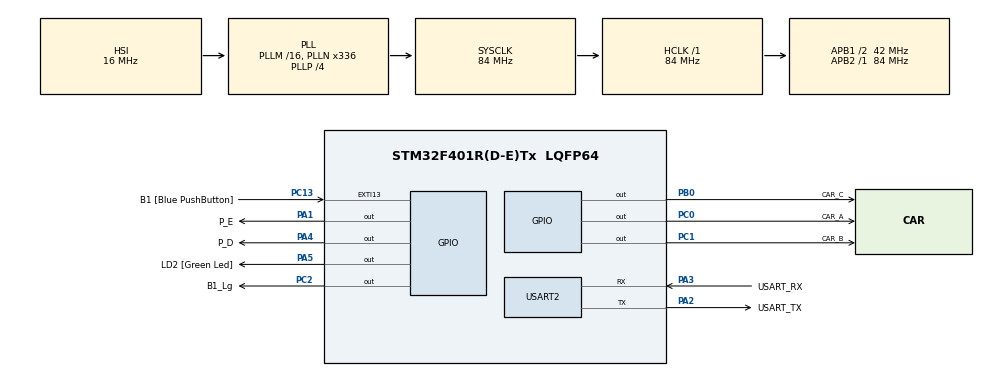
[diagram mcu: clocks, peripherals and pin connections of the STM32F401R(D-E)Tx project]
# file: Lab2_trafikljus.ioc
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Mcu.Family=STM32F4
Mcu.Name=STM32F401R(D-E)Tx
Mcu.Package=LQFP64
NVIC.PriorityGroup=NVIC_PRIORITYGROUP_0
PA1.GPIO_Label=P_E
PA1.Signal=GPIO_Output
PA13.GPIO_Label=TMS
PA13.Mode=Serial_Wire
PA13.Signal=SYS_JTMS-SWDIO
PA14.GPIO_Label=TCK
PA14.Mode=Serial_Wire
PA14.Signal=SYS_JTCK-SWCLK
PA2.GPIO_Label=USART_TX
PA2.GPIO_Mode=GPIO_MODE_AF_PP
PA2.GPIO_PuPd=GPIO_NOPULL
PA2.GPIO_Speed=GPIO_SPEED_FREQ_LOW
PA2.Mode=Asynchronous
PA2.Signal=USART2_TX
PA3.GPIO_Label=USART_RX
PA3.GPIO_Mode=GPIO_MODE_AF_PP
PA3.GPIO_PuPd=GPIO_NOPULL
PA3.GPIO_Speed=GPIO_SPEED_FREQ_LOW
PA3.Mode=Asynchronous
PA3.Signal=USART2_RX
PA4.GPIO_Label=P_D
PA4.Signal=GPIO_Output
PA5.GPIO_Label=LD2 [Green Led]
PA5.GPIO_Mode=GPIO_MODE_OUTPUT_PP
PA5.GPIO_PuPd=GPIO_NOPULL
PA5.GPIO_Speed=GPIO_SPEED_FREQ_LOW
PA5.Signal=GPIO_Output
PB0.GPIO_Label=CAR_C
PB0.Signal=GPIO_Output
PB3.GPIO_Label=SWO
PB3.Signal=SYS_JTDO-SWO
PC0.GPIO_Label=CAR_A
PC0.Signal=GPIO_Output
PC1.GPIO_Label=CAR_B
PC1.Signal=GPIO_Output
PC13-ANTI_TAMP.GPIO_Label=B1 [Blue PushButton]
PC13-ANTI_TAMP.GPIO_ModeDefaultEXTI=GPIO_MODE_IT_FALLING
PC13-ANTI_TAMP.GPIO_PuPd=GPIO_NOPULL
PC13-ANTI_TAMP.Signal=GPXTI13
PC14-OSC32_IN.Mode=LSE-External-Oscillator
PC14-OSC32_IN.Signal=RCC_OSC32_IN
PC15-OSC32_OUT.Mode=LSE-External-Oscillator
PC15-OSC32_OUT.Signal=RCC_OSC32_OUT
PC2.GPIO_Label=B1_Lg
PC2.Signal=GPIO_Output
PH0\ -\ OSC_IN.Mode=HSE-External-Clock-Source
PH0\ -\ OSC_IN.Signal=RCC_OSC_IN
PH1\ -\ OSC_OUT.Mode=HSE-External-Clock-Source
PH1\ -\ OSC_OUT.Signal=RCC_OSC_OUT
ProjectManager.HeapSize=0x200
ProjectManager.StackSize=0x400
ProjectManager.TargetToolchain=STM32CubeIDE
RCC.48MHZClocksFreq_Value=48000000
RCC.AHBFreq_Value=84000000
RCC.APB1CLKDivider=RCC_HCLK_DIV2
RCC.APB1Freq_Value=42000000
RCC.APB1TimFreq_Value=84000000
RCC.APB2Freq_Value=84000000
RCC.APB2TimFreq_Value=84000000
RCC.CortexFreq_Value=84000000
RCC.HCLKFreq_Value=84000000
RCC.HSE_VALUE=8000000
RCC.HSI_VALUE=16000000
RCC.PLLN=336
RCC.PLLP=RCC_PLLP_DIV4
RCC.PLLQ=7
RCC.SYSCLKFreq_VALUE=84000000
RCC.SYSCLKSource=RCC_SYSCLKSOURCE_PLLCLK
RCC.VCOOutputFreq_Value=336000000
USART2.VirtualMode=VM_ASYNC
board=NUCLEO-F401RE

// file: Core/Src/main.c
/* USER CODE BEGIN Header */
/**
  ******************************************************************************
  * @file           : main.c
  * @brief          : Main program body
  ******************************************************************************
  * @attention
  *
  * Copyright (c) 2024 STMicroelectronics.
  * All rights reserved.
  *
  * This software is licensed under terms that can be found in the LICENSE file
  * in the root directory of this software component.
  * If no LICENSE file comes with this software, it is provided AS-IS.
  *
  ******************************************************************************
  */
/* USER CODE END Header */
#include "main.h"

UART_HandleTypeDef huart2;

void SystemClock_Config(void);
static void MX_GPIO_Init(void);
static void MX_USART2_UART_Init(void);

/* USER CODE BEGIN 0 */
	enum event {
		ev_none,
		ev_button_push,
		ev_state_timeout
	};

	enum state {
		s_init,
		s_1,
		s_2,
		s_3,
		s_4,
		s_5,
		s_6,
		s_7,
		s_8,
		s_R_R,
		s_R_G,
		s_RY_R,
		s_G_R,
		s_Y_R
	};

void set_traffic_lights(enum state s){

		switch(s) {

		case s_init:

			//Car Lights on
			HAL_GPIO_WritePin(CAR_A_GPIO_Port, CAR_A_Pin, GPIO_PIN_SET); //Red
			HAL_GPIO_WritePin(CAR_B_GPIO_Port, CAR_B_Pin, GPIO_PIN_SET); //Yellow
			HAL_GPIO_WritePin(CAR_C_GPIO_Port, CAR_C_Pin, GPIO_PIN_SET); //Green

			//Passer Lights on
			HAL_GPIO_WritePin(P_D_GPIO_Port, P_D_Pin, GPIO_PIN_SET); //Green
			HAL_GPIO_WritePin(P_E_GPIO_Port, P_E_Pin, GPIO_PIN_SET); //Red

		break;

		case s_R_R:

			//Car Red
			HAL_GPIO_WritePin(CAR_C_GPIO_Port, CAR_C_Pin, GPIO_PIN_SET);
			//Passer Red
			HAL_GPIO_WritePin(P_E_GPIO_Port, P_E_Pin, GPIO_PIN_SET);

			//Rest reset (turn off)
			HAL_GPIO_WritePin(CAR_B_GPIO_Port, CAR_B_Pin, GPIO_PIN_RESET);
			HAL_GPIO_WritePin(CAR_A_GPIO_Port, CAR_A_Pin, GPIO_PIN_RESET);
			HAL_GPIO_WritePin(P_D_GPIO_Port, P_D_Pin, GPIO_PIN_RESET);

		break;

		case s_R_G:
				// Car red, passer green
		        HAL_GPIO_WritePin(CAR_C_GPIO_Port, CAR_C_Pin, GPIO_PIN_SET);
		        HAL_GPIO_WritePin(P_D_GPIO_Port, P_D_Pin, GPIO_PIN_SET);

		        //Reset rest
		        HAL_GPIO_WritePin(CAR_B_GPIO_Port, CAR_B_Pin, GPIO_PIN_RESET);
		        HAL_GPIO_WritePin(CAR_A_GPIO_Port, CAR_A_Pin, GPIO_PIN_RESET);
		        HAL_GPIO_WritePin(P_E_GPIO_Port, P_E_Pin, GPIO_PIN_RESET);
		        break;

		    case s_RY_R:
		    	//Car red and yellow, passer red
		        HAL_GPIO_WritePin(CAR_C_GPIO_Port, CAR_C_Pin, GPIO_PIN_SET);
		        HAL_GPIO_WritePin(CAR_B_GPIO_Port, CAR_B_Pin, GPIO_PIN_SET);
		        HAL_GPIO_WritePin(P_E_GPIO_Port, P_E_Pin, GPIO_PIN_SET);
		        //Reset rest
		        HAL_GPIO_WritePin(CAR_A_GPIO_Port, CAR_A_Pin, GPIO_PIN_RESET);
		        HAL_GPIO_WritePin(P_D_GPIO_Port, P_D_Pin, GPIO_PIN_RESET);
		        break;

		    case s_G_R:
		        HAL_GPIO_WritePin(CAR_A_GPIO_Port, CAR_A_Pin, GPIO_PIN_SET);
		        HAL_GPIO_WritePin(P_E_GPIO_Port, P_E_Pin, GPIO_PIN_SET);
		        // Reset rest
		        HAL_GPIO_WritePin(CAR_B_GPIO_Port, CAR_B_Pin, GPIO_PIN_RESET);
		        HAL_GPIO_WritePin(CAR_C_GPIO_Port, CAR_C_Pin, GPIO_PIN_RESET);
		        HAL_GPIO_WritePin(P_D_GPIO_Port, P_D_Pin, GPIO_PIN_RESET);
		        break;
		    case s_Y_R:
		        HAL_GPIO_WritePin(CAR_B_GPIO_Port, CAR_B_Pin, GPIO_PIN_SET);
		        HAL_GPIO_WritePin(P_E_GPIO_Port, P_E_Pin, GPIO_PIN_SET);
		        // Reset rest
		        HAL_GPIO_WritePin(CAR_A_GPIO_Port, CAR_A_Pin, GPIO_PIN_RESET);
		        HAL_GPIO_WritePin(CAR_C_GPIO_Port, CAR_C_Pin, GPIO_PIN_RESET);
		        HAL_GPIO_WritePin(P_D_GPIO_Port, P_D_Pin, GPIO_PIN_RESET);
		        break;

		    default:
		    	//All turned off
		    	HAL_GPIO_WritePin(CAR_A_GPIO_Port, CAR_A_Pin, GPIO_PIN_RESET);
				HAL_GPIO_WritePin(CAR_B_GPIO_Port, CAR_B_Pin, GPIO_PIN_RESET);
				HAL_GPIO_WritePin(CAR_C_GPIO_Port, CAR_C_Pin, GPIO_PIN_RESET);
				HAL_GPIO_WritePin(P_D_GPIO_Port, P_D_Pin, GPIO_PIN_RESET);
				HAL_GPIO_WritePin(P_E_GPIO_Port, P_E_Pin, GPIO_PIN_RESET);
		    }

		}

void push_button_light_on(void){

	if(HAL_GPIO_ReadPin(B1_GPIO_Port, B1_Pin) == 0) {
		HAL_GPIO_WritePin(B1_Lg_GPIO_Port, B1_Lg_Pin, GPIO_PIN_SET);
	};

}

void push_button_light_off(void){

	if(HAL_GPIO_ReadPin(B1_GPIO_Port, B1_Pin) == 1) {
		HAL_GPIO_WritePin(B1_Lg_GPIO_Port, B1_Lg_Pin, GPIO_PIN_RESET);
	};
}

int is_blue_button_pressed()
{
    uint32_t reg_idr     = GPIOC->IDR;
    uint16_t reg_pin    = (1<<13);
    if ((reg_idr & reg_pin) == 0)
    {
        return 1;
    }
    else
    {
        return 0;
    }
}

/* USER CODE END 0 */

int main(void)
{

  /* MCU Configuration--------------------------------------------------------*/

  /* Reset of all peripherals, Initializes the Flash interface and the Systick. */
  HAL_Init();

  /* Configure the system clock */
  SystemClock_Config();

  /* Initialize all configured peripherals */
  MX_GPIO_Init();
  MX_USART2_UART_Init();

  /* Infinite loop */
  /* USER CODE BEGIN WHILE */

enum state st_lg	= s_init;
enum event ev 		= ev_none;
enum state st_sw 	= s_1;
int curr_press		= 0;
int last_press		= 0;

uint32_t  ticks_left_in_state = 0;
uint32_t  curr_tick = 0;
uint32_t  last_tick = 0;

last_tick = HAL_GetTick();

  while (1)
  {

	  //dubbel sync
	  curr_press = is_blue_button_pressed();

	  if (curr_press && !last_press) {
		  ev = ev_button_push;
	  }
	  last_press = curr_press;

	  //Tick handler
	  curr_tick = HAL_GetTick();
	  if (curr_tick != last_tick) {

		if (ticks_left_in_state > 0) {
			ticks_left_in_state--;
			if (ticks_left_in_state == 0){
				ev = ev_state_timeout;
			}//end if 3
		}//end if 2

		last_tick = curr_tick;

	  }//end if 1

	  switch(st_sw){

	  case s_1:

		  if (ev == ev_none) {
			  st_sw = s_2;
			  ticks_left_in_state = 3000;
			  set_traffic_lights(s_init);
		  }

		  break;

	  case s_2:
		  if (ev == ev_state_timeout) {
			  st_sw = s_3;
			  ticks_left_in_state = 1000;
			  set_traffic_lights(s_R_R);
		  }
		  else if (ev == ev_button_push){
			  st_sw = s_3;

		  }

		  break;

	  case s_3:
		  if (ev == ev_button_push) {
			  st_sw = s_4;
			  ticks_left_in_state = 3000;
			  set_traffic_lights(s_G_R);
		  }
		  break;

	  case s_4:
		  if (ev == ev_state_timeout) {
			  st_sw = s_5;
			  ticks_left_in_state = 3000;
			  set_traffic_lights(s_Y_R);
		  }

		  break;

	  case s_5:
		  if (ev == ev_state_timeout) {
			  st_sw = s_6;
			  ticks_left_in_state = 3000;
			  set_traffic_lights(s_R_R);
		  	}

		  	break;
	  case s_6:
		  if (ev == ev_state_timeout) {
			  st_sw = s_7;
			  ticks_left_in_state = 3000;
			  set_traffic_lights(s_R_G);
		  	}

		  	break;
	  case s_7:
		  if (ev == ev_state_timeout) {
			  st_sw = s_8;
			  ticks_left_in_state = 3000;
			  set_traffic_lights(s_R_R);
		  	}

		  	break;
	  case s_8:
		  if (ev == ev_state_timeout) {
			  st_sw = s_3;
			  ticks_left_in_state = 3000;
			  set_traffic_lights(s_RY_R);
		  	}

		  	break;
	  default:
		  st_sw = s_1;
		  ev = ev_none;
		  break;

	  }

    /* USER CODE END WHILE */

  }
}

void SystemClock_Config(void)
{
  RCC_OscInitTypeDef RCC_OscInitStruct = {0};
  RCC_ClkInitTypeDef RCC_ClkInitStruct = {0};

  /** Configure the main internal regulator output voltage
  */
  __HAL_RCC_PWR_CLK_ENABLE();
  __HAL_PWR_VOLTAGESCALING_CONFIG(PWR_REGULATOR_VOLTAGE_SCALE2);

  /** Initializes the RCC Oscillators according to the specified parameters
  * in the RCC_OscInitTypeDef structure.
  */
  RCC_OscInitStruct.OscillatorType = RCC_OSCILLATORTYPE_HSI;
  RCC_OscInitStruct.HSIState = RCC_HSI_ON;
  RCC_OscInitStruct.HSICalibrationValue = RCC_HSICALIBRATION_DEFAULT;
  RCC_OscInitStruct.PLL.PLLState = RCC_PLL_ON;
  RCC_OscInitStruct.PLL.PLLSource = RCC_PLLSOURCE_HSI;
  RCC_OscInitStruct.PLL.PLLM = 16;
  RCC_OscInitStruct.PLL.PLLN = 336;
  RCC_OscInitStruct.PLL.PLLP = RCC_PLLP_DIV4;
  RCC_OscInitStruct.PLL.PLLQ = 7;
  if (HAL_RCC_OscConfig(&RCC_OscInitStruct) != HAL_OK)
  {
    Error_Handler();
  }

  /** Initializes the CPU, AHB and APB buses clocks
  */
  RCC_ClkInitStruct.ClockType = RCC_CLOCKTYPE_HCLK|RCC_CLOCKTYPE_SYSCLK
                              |RCC_CLOCKTYPE_PCLK1|RCC_CLOCKTYPE_PCLK2;
  RCC_ClkInitStruct.SYSCLKSource = RCC_SYSCLKSOURCE_PLLCLK;
  RCC_ClkInitStruct.AHBCLKDivider = RCC_SYSCLK_DIV1;
  RCC_ClkInitStruct.APB1CLKDivider = RCC_HCLK_DIV2;
  RCC_ClkInitStruct.APB2CLKDivider = RCC_HCLK_DIV1;

  if (HAL_RCC_ClockConfig(&RCC_ClkInitStruct, FLASH_LATENCY_2) != HAL_OK)
  {
    Error_Handler();
  }
}

static void MX_USART2_UART_Init(void)
{

  huart2.Instance = USART2;
  huart2.Init.BaudRate = 115200;
  huart2.Init.WordLength = UART_WORDLENGTH_8B;
  huart2.Init.StopBits = UART_STOPBITS_1;
  huart2.Init.Parity = UART_PARITY_NONE;
  huart2.Init.Mode = UART_MODE_TX_RX;
  huart2.Init.HwFlowCtl = UART_HWCONTROL_NONE;
  huart2.Init.OverSampling = UART_OVERSAMPLING_16;
  if (HAL_UART_Init(&huart2) != HAL_OK)
  {
    Error_Handler();
  }

}

static void MX_GPIO_Init(void)
{
  GPIO_InitTypeDef GPIO_InitStruct = {0};

  /* GPIO Ports Clock Enable */
  __HAL_RCC_GPIOC_CLK_ENABLE();
  __HAL_RCC_GPIOH_CLK_ENABLE();
  __HAL_RCC_GPIOA_CLK_ENABLE();
  __HAL_RCC_GPIOB_CLK_ENABLE();

  /*Configure GPIO pin Output Level */
  HAL_GPIO_WritePin(GPIOC, CAR_A_Pin|CAR_B_Pin|B1_Lg_Pin, GPIO_PIN_RESET);

  /*Configure GPIO pin Output Level */
  HAL_GPIO_WritePin(GPIOA, P_E_Pin|P_D_Pin|LD2_Pin, GPIO_PIN_RESET);

  /*Configure GPIO pin Output Level */
  HAL_GPIO_WritePin(CAR_C_GPIO_Port, CAR_C_Pin, GPIO_PIN_RESET);

  /*Configure GPIO pin : B1_Pin */
  GPIO_InitStruct.Pin = B1_Pin;
  GPIO_InitStruct.Mode = GPIO_MODE_IT_FALLING;
  GPIO_InitStruct.Pull = GPIO_NOPULL;
  HAL_GPIO_Init(B1_GPIO_Port, &GPIO_InitStruct);

  /*Configure GPIO pins : CAR_A_Pin CAR_B_Pin B1_Lg_Pin */
  GPIO_InitStruct.Pin = CAR_A_Pin|CAR_B_Pin|B1_Lg_Pin;
  GPIO_InitStruct.Mode = GPIO_MODE_OUTPUT_PP;
  GPIO_InitStruct.Pull = GPIO_NOPULL;
  GPIO_InitStruct.Speed = GPIO_SPEED_FREQ_LOW;
  HAL_GPIO_Init(GPIOC, &GPIO_InitStruct);

  /*Configure GPIO pins : P_E_Pin P_D_Pin LD2_Pin */
  GPIO_InitStruct.Pin = P_E_Pin|P_D_Pin|LD2_Pin;
  GPIO_InitStruct.Mode = GPIO_MODE_OUTPUT_PP;
  GPIO_InitStruct.Pull = GPIO_NOPULL;
  GPIO_InitStruct.Speed = GPIO_SPEED_FREQ_LOW;
  HAL_GPIO_Init(GPIOA, &GPIO_InitStruct);

  /*Configure GPIO pin : CAR_C_Pin */
  GPIO_InitStruct.Pin = CAR_C_Pin;
  GPIO_InitStruct.Mode = GPIO_MODE_OUTPUT_PP;
  GPIO_InitStruct.Pull = GPIO_NOPULL;
  GPIO_InitStruct.Speed = GPIO_SPEED_FREQ_LOW;
  HAL_GPIO_Init(CAR_C_GPIO_Port, &GPIO_InitStruct);

}

void Error_Handler(void)
{
  __disable_irq();
  while (1)
  {
  }
}
